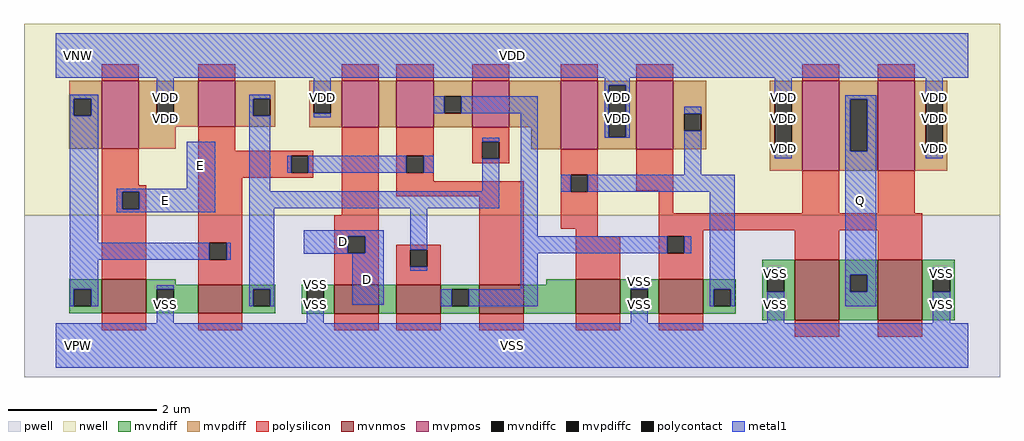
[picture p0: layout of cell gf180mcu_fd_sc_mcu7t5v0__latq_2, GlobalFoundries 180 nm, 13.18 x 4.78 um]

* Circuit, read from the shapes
.subckt gf180mcu_fd_sc_mcu7t5v0__latq_2 D E Q VDD VNW VPW VSS
XM1 VSS E n1 VPW nfet_06v0 w=0.46u l=0.6u
XM2 n2 n1 VSS VPW nfet_06v0 w=0.39u l=0.6u
XM3 n3 D VSS VPW nfet_06v0 w=0.395u l=0.6u
XM4 n4 n2 n3 VPW nfet_06v0 w=0.395u l=0.6u
XM5 n5 n1 n4 VPW nfet_06v0 w=0.395u l=0.6u
XM6 VSS n6 n5 VPW nfet_06v0 w=0.465u l=0.6u
XM7 n6 n4 VSS VPW nfet_06v0 w=0.465u l=0.6u
XM8 Q n4 VSS VPW nfet_06v0 w=0.82u l=0.6u m=2
XM9 VDD E n1 VNW pfet_06v0 w=0.92u l=0.5u
XM10 n2 n1 VDD VNW pfet_06v0 w=0.625u l=0.5u
XM11 n7 D VDD VNW pfet_06v0 w=0.63u l=0.5u
XM12 n4 n1 n7 VNW pfet_06v0 w=0.63u l=0.5u
XM13 n8 n2 n4 VNW pfet_06v0 w=0.63u l=0.5u
XM14 VDD n6 n8 VNW pfet_06v0 w=0.925u l=0.5u
XM15 n6 n4 VDD VNW pfet_06v0 w=0.925u l=0.5u
XM16 Q n4 VDD VNW pfet_06v0 w=1.22u l=0.5u m=2
.ends

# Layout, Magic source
magic
tech gf180mcuD
magscale 1 10
<< nwell >>
rect -86 352 2550 870
<< pwell >>
rect -86 -86 2550 352
<< mvnmos >>
rect 124 87 244 179
rect 384 87 504 165
rect 752 86 872 165
rect 920 86 1040 165
rect 1144 86 1264 165
rect 1404 86 1524 179
rect 1628 86 1748 179
rect 1996 68 2116 232
rect 2220 68 2340 232
<< mvpmos >>
rect 124 532 224 716
rect 384 591 484 716
rect 772 590 872 716
rect 920 590 1020 716
rect 1124 590 1224 716
rect 1364 531 1464 716
rect 1568 531 1668 716
rect 2016 472 2116 716
rect 2220 472 2320 716
<< mvndiff >>
rect 36 152 124 179
rect 36 106 49 152
rect 95 106 124 152
rect 36 87 124 106
rect 244 165 324 179
rect 1908 192 1996 232
rect 1324 165 1404 179
rect 244 152 384 165
rect 244 106 273 152
rect 319 106 384 152
rect 244 87 384 106
rect 504 152 592 165
rect 504 106 533 152
rect 579 106 592 152
rect 504 87 592 106
rect 664 152 752 165
rect 664 106 677 152
rect 723 106 752 152
rect 664 86 752 106
rect 872 86 920 165
rect 1040 152 1144 165
rect 1040 106 1069 152
rect 1115 106 1144 152
rect 1040 86 1144 106
rect 1264 86 1404 165
rect 1524 152 1628 179
rect 1524 106 1553 152
rect 1599 106 1628 152
rect 1524 86 1628 106
rect 1748 152 1836 179
rect 1748 106 1777 152
rect 1823 106 1836 152
rect 1748 86 1836 106
rect 1908 146 1921 192
rect 1967 146 1996 192
rect 1908 68 1996 146
rect 2116 192 2220 232
rect 2116 146 2145 192
rect 2191 146 2220 192
rect 2116 68 2220 146
rect 2340 192 2428 232
rect 2340 146 2369 192
rect 2415 146 2428 192
rect 2340 68 2428 146
<< mvpdiff >>
rect 36 667 124 716
rect 36 621 49 667
rect 95 621 124 667
rect 36 532 124 621
rect 224 667 384 716
rect 224 621 273 667
rect 319 621 384 667
rect 224 591 384 621
rect 484 667 592 716
rect 484 621 533 667
rect 579 621 592 667
rect 484 591 592 621
rect 684 674 772 716
rect 684 628 697 674
rect 743 628 772 674
rect 224 532 324 591
rect 684 590 772 628
rect 872 590 920 716
rect 1020 674 1124 716
rect 1020 628 1049 674
rect 1095 628 1124 674
rect 1020 590 1124 628
rect 1224 590 1364 716
rect 1284 531 1364 590
rect 1464 703 1568 716
rect 1464 563 1493 703
rect 1539 563 1568 703
rect 1464 531 1568 563
rect 1668 626 1756 716
rect 1668 580 1697 626
rect 1743 580 1756 626
rect 1668 531 1756 580
rect 1928 665 2016 716
rect 1928 525 1941 665
rect 1987 525 2016 665
rect 1928 472 2016 525
rect 2116 665 2220 716
rect 2116 525 2145 665
rect 2191 525 2220 665
rect 2116 472 2220 525
rect 2320 665 2408 716
rect 2320 525 2349 665
rect 2395 525 2408 665
rect 2320 472 2408 525
<< mvndiffc >>
rect 49 106 95 152
rect 273 106 319 152
rect 533 106 579 152
rect 677 106 723 152
rect 1069 106 1115 152
rect 1553 106 1599 152
rect 1777 106 1823 152
rect 1921 146 1967 192
rect 2145 146 2191 192
rect 2369 146 2415 192
<< mvpdiffc >>
rect 49 621 95 667
rect 273 621 319 667
rect 533 621 579 667
rect 697 628 743 674
rect 1049 628 1095 674
rect 1493 563 1539 703
rect 1697 580 1743 626
rect 1941 525 1987 665
rect 2145 525 2191 665
rect 2349 525 2395 665
<< polysilicon >>
rect 124 716 224 760
rect 384 716 484 760
rect 772 716 872 760
rect 920 716 1020 760
rect 1124 716 1224 760
rect 1364 716 1464 760
rect 1568 716 1668 760
rect 2016 716 2116 760
rect 2220 716 2320 760
rect 124 433 224 532
rect 384 526 484 591
rect 384 513 695 526
rect 384 467 636 513
rect 682 467 695 513
rect 384 454 695 467
rect 124 415 244 433
rect 124 369 179 415
rect 225 369 244 415
rect 124 179 244 369
rect 384 278 504 454
rect 772 352 872 590
rect 920 513 1020 590
rect 920 467 947 513
rect 993 467 1020 513
rect 1124 551 1224 590
rect 1124 505 1151 551
rect 1197 505 1224 551
rect 1124 492 1224 505
rect 920 444 1020 467
rect 1364 461 1464 531
rect 920 404 1264 444
rect 384 232 415 278
rect 461 232 504 278
rect 384 165 504 232
rect 752 295 872 352
rect 752 249 789 295
rect 835 249 872 295
rect 752 165 872 249
rect 920 259 1040 272
rect 920 213 957 259
rect 1003 213 1040 259
rect 920 165 1040 213
rect 1144 165 1264 404
rect 1364 415 1391 461
rect 1437 415 1464 461
rect 1568 419 1668 531
rect 1364 316 1464 415
rect 1404 294 1464 316
rect 1628 357 1668 419
rect 2016 357 2116 472
rect 2220 357 2320 472
rect 1628 311 2340 357
rect 1628 295 1748 311
rect 1404 179 1524 294
rect 1628 249 1651 295
rect 1697 249 1748 295
rect 1628 179 1748 249
rect 1996 232 2116 311
rect 2220 232 2340 311
rect 124 42 244 87
rect 384 42 504 87
rect 752 42 872 86
rect 920 42 1040 86
rect 1144 42 1264 86
rect 1404 42 1524 86
rect 1628 42 1748 86
rect 1996 24 2116 68
rect 2220 24 2340 68
<< polycontact >>
rect 636 467 682 513
rect 179 369 225 415
rect 947 467 993 513
rect 1151 505 1197 551
rect 415 232 461 278
rect 789 249 835 295
rect 957 213 1003 259
rect 1391 415 1437 461
rect 1651 249 1697 295
<< metal1 >>
rect 0 724 2464 844
rect 38 667 115 678
rect 38 621 49 667
rect 95 621 115 667
rect 38 278 115 621
rect 273 667 319 724
rect 273 610 319 621
rect 522 667 579 678
rect 522 621 533 667
rect 354 424 430 550
rect 165 415 430 424
rect 165 369 179 415
rect 225 369 430 415
rect 165 360 430 369
rect 522 417 579 621
rect 697 674 743 724
rect 1482 703 1550 724
rect 1020 628 1049 674
rect 1095 628 1301 674
rect 697 617 743 628
rect 1151 551 1197 562
rect 625 467 636 513
rect 682 467 947 513
rect 993 467 1020 513
rect 1151 417 1197 505
rect 522 371 1197 417
rect 38 232 415 278
rect 461 232 472 278
rect 38 152 115 232
rect 38 106 49 152
rect 95 106 115 152
rect 273 152 319 163
rect 522 152 590 371
rect 670 295 886 312
rect 670 249 789 295
rect 835 249 886 295
rect 670 248 886 249
rect 522 106 533 152
rect 579 106 590 152
rect 677 152 723 165
rect 800 110 886 248
rect 957 259 1003 371
rect 957 202 1003 213
rect 1255 295 1301 628
rect 1482 563 1493 703
rect 1539 563 1550 703
rect 1941 665 1987 724
rect 1482 561 1550 563
rect 1697 626 1743 645
rect 1697 461 1743 580
rect 1941 506 1987 525
rect 2132 665 2216 676
rect 2132 525 2145 665
rect 2191 525 2216 665
rect 1364 415 1391 461
rect 1437 415 1834 461
rect 1255 249 1651 295
rect 1697 249 1716 295
rect 1255 152 1301 249
rect 1040 106 1069 152
rect 1115 106 1301 152
rect 1553 152 1599 179
rect 1766 152 1834 415
rect 1766 106 1777 152
rect 1823 106 1834 152
rect 1921 192 1967 211
rect 273 60 319 106
rect 677 60 723 106
rect 1553 60 1599 106
rect 1921 60 1967 146
rect 2132 192 2216 525
rect 2349 665 2395 724
rect 2349 506 2395 525
rect 2132 146 2145 192
rect 2191 146 2216 192
rect 2132 106 2216 146
rect 2369 192 2415 211
rect 2369 60 2415 146
rect 0 -60 2464 60
<< labels >>
flabel metal1 s 2132 106 2216 676 0 FreeSans 400 0 0 0 Q
port 3 nsew default output
flabel metal1 s 0 724 2464 844 0 FreeSans 400 0 0 0 VDD
port 4 nsew power bidirectional abutment
flabel metal1 s 2369 179 2415 211 0 FreeSans 400 0 0 0 VSS
port 7 nsew ground bidirectional abutment
flabel metal1 s 670 248 886 312 0 FreeSans 400 0 0 0 D
port 1 nsew default input
flabel metal1 s 354 424 430 550 0 FreeSans 400 0 0 0 E
port 2 nsew clock input
flabel nwell s 10 734 110 834 0 FreeSans 400 0 0 0 VNW
port 5 nsew power bidirectional
flabel pwell s 10 -50 110 50 0 FreeSans 400 0 0 0 VPW
port 6 nsew ground bidirectional
rlabel metal1 s 800 110 886 248 1 D
port 1 nsew default input
rlabel metal1 s 165 360 430 424 1 E
port 2 nsew clock input
rlabel metal1 s 2349 617 2395 724 1 VDD
port 4 nsew power bidirectional abutment
rlabel metal1 s 1941 617 1987 724 1 VDD
port 4 nsew power bidirectional abutment
rlabel metal1 s 1482 617 1550 724 1 VDD
port 4 nsew power bidirectional abutment
rlabel metal1 s 697 617 743 724 1 VDD
port 4 nsew power bidirectional abutment
rlabel metal1 s 273 617 319 724 1 VDD
port 4 nsew power bidirectional abutment
rlabel metal1 s 2349 610 2395 617 1 VDD
port 4 nsew power bidirectional abutment
rlabel metal1 s 1941 610 1987 617 1 VDD
port 4 nsew power bidirectional abutment
rlabel metal1 s 1482 610 1550 617 1 VDD
port 4 nsew power bidirectional abutment
rlabel metal1 s 273 610 319 617 1 VDD
port 4 nsew power bidirectional abutment
rlabel metal1 s 2349 561 2395 610 1 VDD
port 4 nsew power bidirectional abutment
rlabel metal1 s 1941 561 1987 610 1 VDD
port 4 nsew power bidirectional abutment
rlabel metal1 s 1482 561 1550 610 1 VDD
port 4 nsew power bidirectional abutment
rlabel metal1 s 2349 506 2395 561 1 VDD
port 4 nsew power bidirectional abutment
rlabel metal1 s 1941 506 1987 561 1 VDD
port 4 nsew power bidirectional abutment
rlabel metal1 s 1921 179 1967 211 1 VSS
port 7 nsew ground bidirectional abutment
rlabel metal1 s 2369 165 2415 179 1 VSS
port 7 nsew ground bidirectional abutment
rlabel metal1 s 1921 165 1967 179 1 VSS
port 7 nsew ground bidirectional abutment
rlabel metal1 s 1553 165 1599 179 1 VSS
port 7 nsew ground bidirectional abutment
rlabel metal1 s 2369 163 2415 165 1 VSS
port 7 nsew ground bidirectional abutment
rlabel metal1 s 1921 163 1967 165 1 VSS
port 7 nsew ground bidirectional abutment
rlabel metal1 s 1553 163 1599 165 1 VSS
port 7 nsew ground bidirectional abutment
rlabel metal1 s 677 163 723 165 1 VSS
port 7 nsew ground bidirectional abutment
rlabel metal1 s 2369 60 2415 163 1 VSS
port 7 nsew ground bidirectional abutment
rlabel metal1 s 1921 60 1967 163 1 VSS
port 7 nsew ground bidirectional abutment
rlabel metal1 s 1553 60 1599 163 1 VSS
port 7 nsew ground bidirectional abutment
rlabel metal1 s 677 60 723 163 1 VSS
port 7 nsew ground bidirectional abutment
rlabel metal1 s 273 60 319 163 1 VSS
port 7 nsew ground bidirectional abutment
rlabel metal1 s 0 -60 2464 60 1 VSS
port 7 nsew ground bidirectional abutment
<< properties >>
string FIXED_BBOX 0 0 2464 784
string GDS_END 591602
string GDS_FILE $PDKPATH/libs.ref/gf180mcu_fd_sc_mcu7t5v0/gds/gf180mcu_fd_sc_mcu7t5v0.gds
string GDS_START 585808
string LEFclass core
string LEFsite GF018hv5v_mcu_sc7
string LEFsymmetry X Y
<< end >>
